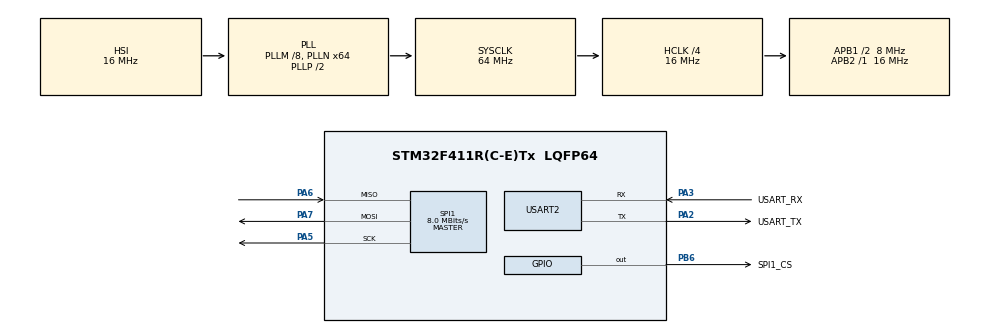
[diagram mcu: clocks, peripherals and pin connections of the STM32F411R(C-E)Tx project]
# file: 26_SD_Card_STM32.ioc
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FATFS._MAX_SS=4096
FATFS._USE_LFN=1
Mcu.Family=STM32F4
Mcu.Name=STM32F411R(C-E)Tx
Mcu.Package=LQFP64
NVIC.PriorityGroup=NVIC_PRIORITYGROUP_0
PA13.GPIO_Label=TMS
PA13.Mode=Serial_Wire
PA13.Signal=SYS_JTMS-SWDIO
PA14.GPIO_Label=TCK
PA14.Mode=Serial_Wire
PA14.Signal=SYS_JTCK-SWCLK
PA2.GPIO_Label=USART_TX
PA2.Mode=Asynchronous
PA2.Signal=USART2_TX
PA3.GPIO_Label=USART_RX
PA3.Mode=Asynchronous
PA3.Signal=USART2_RX
PA5.Mode=Full_Duplex_Master
PA5.Signal=SPI1_SCK
PA6.Mode=Full_Duplex_Master
PA6.Signal=SPI1_MISO
PA7.Mode=Full_Duplex_Master
PA7.Signal=SPI1_MOSI
PB3.GPIO_Label=SWO
PB3.Signal=SYS_JTDO-SWO
PB6.GPIO_Label=SPI1_CS
PB6.Signal=GPIO_Output
PC14-OSC32_IN.Mode=LSE-External-Oscillator
PC14-OSC32_IN.Signal=RCC_OSC32_IN
PC15-OSC32_OUT.Mode=LSE-External-Oscillator
PC15-OSC32_OUT.Signal=RCC_OSC32_OUT
PH0\ -\ OSC_IN.Mode=HSE-External-Clock-Source
PH0\ -\ OSC_IN.Signal=RCC_OSC_IN
PH1\ -\ OSC_OUT.Mode=HSE-External-Clock-Source
PH1\ -\ OSC_OUT.Signal=RCC_OSC_OUT
ProjectManager.HeapSize=0x200
ProjectManager.StackSize=0x400
ProjectManager.TargetToolchain=STM32CubeIDE
RCC.48MHZClocksFreq_Value=32000000
RCC.AHBCLKDivider=RCC_SYSCLK_DIV4
RCC.AHBFreq_Value=16000000
RCC.APB1CLKDivider=RCC_HCLK_DIV2
RCC.APB1Freq_Value=8000000
RCC.APB1TimFreq_Value=16000000
RCC.APB2Freq_Value=16000000
RCC.APB2TimFreq_Value=16000000
RCC.CortexFreq_Value=16000000
RCC.FLatency-AdvancedSettings=FLASH_LATENCY_0
RCC.HCLKFreq_Value=16000000
RCC.HSE_VALUE=8000000
RCC.HSI_VALUE=16000000
RCC.PLLM=8
RCC.PLLN=64
RCC.SYSCLKFreq_VALUE=64000000
RCC.SYSCLKSource=RCC_SYSCLKSOURCE_PLLCLK
RCC.VCOOutputFreq_Value=128000000
SPI1.BaudRatePrescaler=SPI_BAUDRATEPRESCALER_2
SPI1.CalculateBaudRate=8.0 MBits/s
SPI1.Direction=SPI_DIRECTION_2LINES
SPI1.Mode=SPI_MODE_MASTER
SPI1.VirtualType=VM_MASTER
USART2.VirtualMode=VM_ASYNC
VP_FATFS_VS_Generic.Mode=User_defined
board=NUCLEO-F411RE

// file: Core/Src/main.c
/* USER CODE BEGIN Header */
/**
  ******************************************************************************
  * @file           : main.c
  * @brief          : Main program body
  ******************************************************************************
  * @attention
  *
  * Copyright (c) 2026 STMicroelectronics.
  * All rights reserved.
  *
  * This software is licensed under terms that can be found in the LICENSE file
  * in the root directory of this software component.
  * If no LICENSE file comes with this software, it is provided AS-IS.
  *
  ******************************************************************************
  */
/* USER CODE END Header */
#include "main.h"
#include "fatfs.h"

/* USER CODE BEGIN Includes */
#include <stdbool.h>
#include <stdio.h>
#include <string.h>
/* USER CODE END Includes */

SPI_HandleTypeDef hspi1;

UART_HandleTypeDef huart2;

void SystemClock_Config(void);
static void MX_GPIO_Init(void);
static void MX_USART2_UART_Init(void);
static void MX_SPI1_Init(void);

/* USER CODE BEGIN 0 */
int __io_putchar(int ch);
void SD_Card_Test(void);
/* USER CODE END 0 */

int main(void)
{

  /* MCU Configuration--------------------------------------------------------*/

  /* Reset of all peripherals, Initializes the Flash interface and the Systick. */
  HAL_Init();

  /* Configure the system clock */
  SystemClock_Config();

  /* Initialize all configured peripherals */
  MX_GPIO_Init();
  MX_USART2_UART_Init();
  MX_SPI1_Init();
  MX_FATFS_Init();
  /* USER CODE BEGIN 2 */
  SD_Card_Test();
  /* USER CODE END 2 */

  /* Infinite loop */
  while (1)
  {

  }
}

void SystemClock_Config(void)
{
  RCC_OscInitTypeDef RCC_OscInitStruct = {0};
  RCC_ClkInitTypeDef RCC_ClkInitStruct = {0};

  /** Configure the main internal regulator output voltage
  */
  __HAL_RCC_PWR_CLK_ENABLE();
  __HAL_PWR_VOLTAGESCALING_CONFIG(PWR_REGULATOR_VOLTAGE_SCALE1);

  /** Initializes the RCC Oscillators according to the specified parameters
  * in the RCC_OscInitTypeDef structure.
  */
  RCC_OscInitStruct.OscillatorType = RCC_OSCILLATORTYPE_HSI;
  RCC_OscInitStruct.HSIState = RCC_HSI_ON;
  RCC_OscInitStruct.HSICalibrationValue = RCC_HSICALIBRATION_DEFAULT;
  RCC_OscInitStruct.PLL.PLLState = RCC_PLL_ON;
  RCC_OscInitStruct.PLL.PLLSource = RCC_PLLSOURCE_HSI;
  RCC_OscInitStruct.PLL.PLLM = 8;
  RCC_OscInitStruct.PLL.PLLN = 64;
  RCC_OscInitStruct.PLL.PLLP = RCC_PLLP_DIV2;
  RCC_OscInitStruct.PLL.PLLQ = 4;
  if (HAL_RCC_OscConfig(&RCC_OscInitStruct) != HAL_OK)
  {
    Error_Handler();
  }

  /** Initializes the CPU, AHB and APB buses clocks
  */
  RCC_ClkInitStruct.ClockType = RCC_CLOCKTYPE_HCLK|RCC_CLOCKTYPE_SYSCLK
                              |RCC_CLOCKTYPE_PCLK1|RCC_CLOCKTYPE_PCLK2;
  RCC_ClkInitStruct.SYSCLKSource = RCC_SYSCLKSOURCE_PLLCLK;
  RCC_ClkInitStruct.AHBCLKDivider = RCC_SYSCLK_DIV4;
  RCC_ClkInitStruct.APB1CLKDivider = RCC_HCLK_DIV2;
  RCC_ClkInitStruct.APB2CLKDivider = RCC_HCLK_DIV1;

  if (HAL_RCC_ClockConfig(&RCC_ClkInitStruct, FLASH_LATENCY_0) != HAL_OK)
  {
    Error_Handler();
  }
}

static void MX_SPI1_Init(void)
{

  /* SPI1 parameter configuration*/
  hspi1.Instance = SPI1;
  hspi1.Init.Mode = SPI_MODE_MASTER;
  hspi1.Init.Direction = SPI_DIRECTION_2LINES;
  hspi1.Init.DataSize = SPI_DATASIZE_8BIT;
  hspi1.Init.CLKPolarity = SPI_POLARITY_LOW;
  hspi1.Init.CLKPhase = SPI_PHASE_1EDGE;
  hspi1.Init.NSS = SPI_NSS_SOFT;
  hspi1.Init.BaudRatePrescaler = SPI_BAUDRATEPRESCALER_2;
  hspi1.Init.FirstBit = SPI_FIRSTBIT_MSB;
  hspi1.Init.TIMode = SPI_TIMODE_DISABLE;
  hspi1.Init.CRCCalculation = SPI_CRCCALCULATION_DISABLE;
  hspi1.Init.CRCPolynomial = 10;
  if (HAL_SPI_Init(&hspi1) != HAL_OK)
  {
    Error_Handler();
  }

}

static void MX_USART2_UART_Init(void)
{

  huart2.Instance = USART2;
  huart2.Init.BaudRate = 115200;
  huart2.Init.WordLength = UART_WORDLENGTH_8B;
  huart2.Init.StopBits = UART_STOPBITS_1;
  huart2.Init.Parity = UART_PARITY_NONE;
  huart2.Init.Mode = UART_MODE_TX_RX;
  huart2.Init.HwFlowCtl = UART_HWCONTROL_NONE;
  huart2.Init.OverSampling = UART_OVERSAMPLING_16;
  if (HAL_UART_Init(&huart2) != HAL_OK)
  {
    Error_Handler();
  }

}

static void MX_GPIO_Init(void)
{
  GPIO_InitTypeDef GPIO_InitStruct = {0};

  /* GPIO Ports Clock Enable */
  __HAL_RCC_GPIOC_CLK_ENABLE();
  __HAL_RCC_GPIOH_CLK_ENABLE();
  __HAL_RCC_GPIOA_CLK_ENABLE();
  __HAL_RCC_GPIOB_CLK_ENABLE();

  /*Configure GPIO pin Output Level */
  HAL_GPIO_WritePin(SPI1_CS_GPIO_Port, SPI1_CS_Pin, GPIO_PIN_RESET);

  /*Configure GPIO pin : SPI1_CS_Pin */
  GPIO_InitStruct.Pin = SPI1_CS_Pin;
  GPIO_InitStruct.Mode = GPIO_MODE_OUTPUT_PP;
  GPIO_InitStruct.Pull = GPIO_NOPULL;
  GPIO_InitStruct.Speed = GPIO_SPEED_FREQ_LOW;
  HAL_GPIO_Init(SPI1_CS_GPIO_Port, &GPIO_InitStruct);

}

/* USER CODE BEGIN 4 */

void SD_Card_Test(void)
{
	printf("Start FATFS System\n");
    FATFS FatFs;        // FAT file system object (required by FatFs)
    FIL Fil;            // File object (used to open/read/write files)
    FRESULT FR_Status;  // Stores return status of FatFs functions
    FATFS *FS_Ptr;      // Pointer to file system information
    UINT RWC, WWC;      // RWC = Read byte count, WWC = Written byte count
    DWORD FreeClusters; // Stores number of free clusters in SD card
    uint32_t TotalSize, FreeSpace; // SD card size information
    char RW_Buffer[200]; // Buffer used for both read and write operations

    //------------------[ STEP 1: Mount the SD Card ]--------------------
    // This step makes the SD card ready to use with FatFs
    FR_Status = f_mount(&FatFs, "", 1);
    if (FR_Status != FR_OK)
    {
        // If mounting fails, print error and exit function
        printf("[ERROR] SD Card mount failed! Code = %d\r\n", FR_Status);
        return;
    }

    // SD card mounted successfully
    printf("[INFO] SD Card mounted successfully\r\n\n");

    //------------------[ STEP 2: Get SD Card Size & Free Space ]--------------------
    // Get free cluster count and file system information
    f_getfree("", &FreeClusters, &FS_Ptr);

    // Calculate total size and free space in Bytes
    // csize = cluster size, each sector = 512 bytes
    TotalSize = (FS_Ptr->n_fatent - 2) * FS_Ptr->csize * 512;
    FreeSpace = FreeClusters * FS_Ptr->csize * 512;

    // Print SD card memory details on serial terminal
    printf("[INFO] SD Card Total Size : %lu Bytes\r\n", TotalSize);
    printf("[INFO] SD Card Free Space : %lu Bytes\r\n\n", FreeSpace);

    //------------------[ STEP 3: Create File and Write Data ]--------------------
    // Create a new file or overwrite if it already exists
    FR_Status = f_open(&Fil,
                       "STM_FILE.txt",
                       FA_WRITE | FA_READ | FA_CREATE_ALWAYS);

    if (FR_Status != FR_OK)
    {
        // File creation/open failed
        printf("[ERROR] File create/open failed! Code = %d\r\n", FR_Status);
        return;
    }

    // File created successfully
    printf("[SD] File created: STM_FILE.txt\r\n");

    // Prepare data to be written into the SD card file
    strcpy(RW_Buffer, "[SD] Hello from STM32! Data written using f_write()\r\n");

    // Write data to the file
    FR_Status = f_write(&Fil, RW_Buffer, strlen(RW_Buffer), &WWC);
    if (FR_Status != FR_OK || WWC == 0)
    {
        // Writing failed
        printf("[ERROR] SD file write failed\r\n");
        f_close(&Fil);
        return;
    }

    // Print number of bytes written
    printf("[INFO] Written string to SD card: %s\r\n", RW_Buffer);
    printf("[INFO] Written %d bytes to SD card\r\n", WWC);

    // Close the file after writing
    f_close(&Fil);

    //------------------[ STEP 4: Read File Content ]--------------------
    // Open the same file in read mode
    FR_Status = f_open(&Fil, "STM_FILE.txt", FA_READ);
    if (FR_Status != FR_OK)
    {
        printf("[ERROR] File open for read failed\r\n");
        return;
    }

    // Clear buffer before reading data
    memset(RW_Buffer, 0, sizeof(RW_Buffer));

    // Move file pointer to the beginning of the file
    f_lseek(&Fil, 0);

    // Read data from SD card file into buffer
    FR_Status = f_read(&Fil, RW_Buffer, sizeof(RW_Buffer) - 1, &RWC);
    if (FR_Status == FR_OK)
    {
        // Add null character to make it a valid string
        RW_Buffer[RWC] = '\0';

        // Print file content on serial terminal
        printf("[SD] File content read from SD card:\r\n%s\r\n", RW_Buffer);
    }

    // Close file after reading
    f_close(&Fil);

    //------------------[ STEP 5: Append New Data to File ]--------------------
    // Open existing file in write mode (for updating)
    FR_Status = f_open(&Fil,
                       "STM_FILE.txt",
                       FA_OPEN_EXISTING | FA_WRITE);
    if (FR_Status != FR_OK)
    {
        printf("[ERROR] File open for update failed\r\n");
        return;
    }

    // Move file pointer to the end of the file
    // This ensures new data is appended, not overwritten
    f_lseek(&Fil, f_size(&Fil));

    // New data to be appended at the end of file
    strcpy(RW_Buffer,
           "[SD] This line was appended later\r\n");

    // Write appended data
    f_write(&Fil, RW_Buffer, strlen(RW_Buffer), &WWC);
    printf("[SD] Appended new data to file\r\n");

    // Close file after updating
    f_close(&Fil);

    //------------------[ STEP 6: Read File After Update ]--------------------
    // Open file again to verify updated content
    FR_Status = f_open(&Fil, "STM_FILE.txt", FA_READ);
    if (FR_Status == FR_OK)
    {
        memset(RW_Buffer, 0, sizeof(RW_Buffer));

        // Read entire file content
        f_read(&Fil, RW_Buffer, sizeof(RW_Buffer) - 1, &RWC);
        RW_Buffer[RWC] = '\0';

        // Print updated file content
        printf("[SD] File content after update:\r\n%s\r\n", RW_Buffer);

        f_close(&Fil);
    }

    //------------------[ STEP 7: Unmount the SD Card ]--------------------
    // Properly unmount the SD card to avoid data corruption
    FR_Status = f_mount(NULL, "", 0);
    if (FR_Status != FR_OK)
        printf("[ERROR] SD Card unmount failed! Code = %d\r\n", FR_Status);
    else
        printf("[INFO] SD Card unmounted safely\r\n");
}

int __io_putchar(int ch)
{
	HAL_UART_Transmit(&huart2, (uint8_t *)&ch, 1, HAL_MAX_DELAY);
	return ch;
}

/* USER CODE END 4 */

void Error_Handler(void)
{
  __disable_irq();
  while (1)
  {
  }
}
